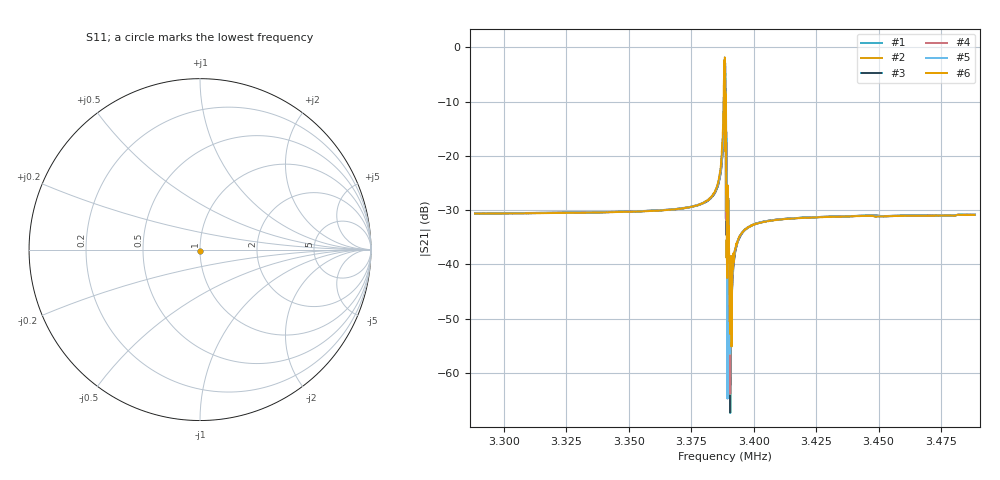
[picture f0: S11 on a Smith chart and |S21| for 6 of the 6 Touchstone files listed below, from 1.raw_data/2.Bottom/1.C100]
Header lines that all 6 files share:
# Hz S dB R 50.000
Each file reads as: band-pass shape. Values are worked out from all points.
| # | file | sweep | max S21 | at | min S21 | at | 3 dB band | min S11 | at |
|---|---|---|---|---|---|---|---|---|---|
| 1 | C100_20C.s2p | 3.289 MHz to 3.489 MHz | -5.72 dB | 3.389 MHz | -58.3 dB | 3.391 MHz | 3.388 MHz-3.389 MHz | -43.6 dB | 3.486 MHz |
| 2 | C100_25C.s2p | 3.289 MHz to 3.489 MHz | -6.52 dB | 3.389 MHz | -62.2 dB | 3.391 MHz | 3.388 MHz-3.389 MHz | -43.7 dB | 3.486 MHz |
| 3 | C100_35C.s2p | 3.289 MHz to 3.489 MHz | -4.72 dB | 3.389 MHz | -67.4 dB | 3.391 MHz | 3.388 MHz-3.389 MHz | -44.0 dB | 3.488 MHz |
| 4 | C100_40C.s2p | 3.289 MHz to 3.489 MHz | -3.53 dB | 3.389 MHz | -63.9 dB | 3.391 MHz | 3.388 MHz-3.389 MHz | -44.4 dB | 3.487 MHz |
| 5 | C100_50C.s2p | 3.289 MHz to 3.489 MHz | -2.90 dB | 3.389 MHz | -64.7 dB | 3.39 MHz | 3.388 MHz-3.389 MHz | -44.7 dB | 3.484 MHz |
| 6 | C100_60C.s2p | 3.288 MHz to 3.488 MHz | -1.85 dB | 3.388 MHz | -55.1 dB | 3.391 MHz | 3.388 MHz-3.388 MHz | -43.9 dB | 3.439 MHz |
